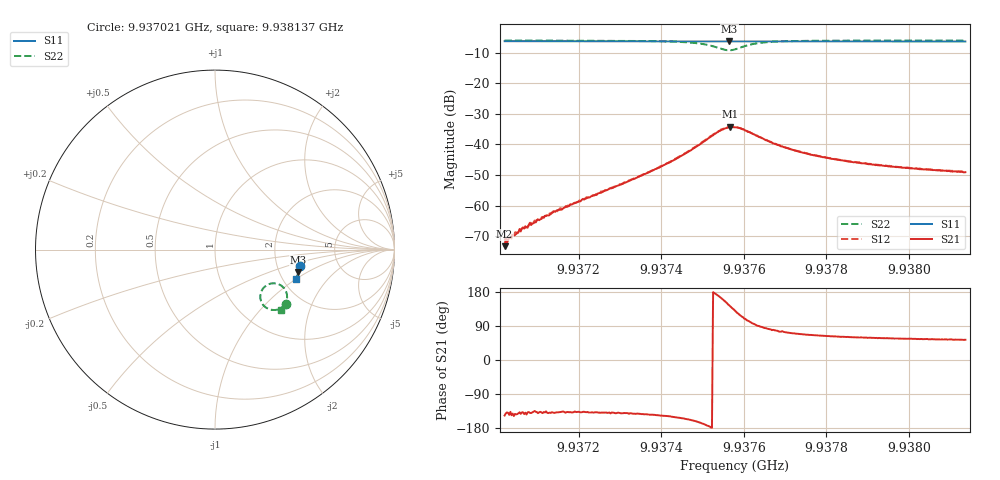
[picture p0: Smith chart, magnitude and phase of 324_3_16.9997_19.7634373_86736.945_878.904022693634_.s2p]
#  HZ  S  RI  R  50.00
! Rohde & Schwarz Vector Network Analyzer
! Rohde-Schwarz,ZNB20-2Port,1311601062101988,3.16
! Created: UTC 3/20/2024, 11:06:39 PM
! freq[Hz]  re:S11  im:S11  re:S21  im:S21  re:S12  im:S12  re:S22  im:S22
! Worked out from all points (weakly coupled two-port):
!   401 points, 9.937021 GHz to 9.938137 GHz, reference 50 ohm
!   highest |S21| = -34.24 dB at 9.937568 GHz (marker M1); lowest = -73.2 dB at 9.937021 GHz (marker M2)
!   lowest |S11| = -6.4 dB at 9.937565 GHz (marker M3), VSWR 2.85, Z = 127 - j41.1 ohm
!   |S11| at or under -10 dB: nowhere
!   |S22| runs from -9.3 to -6.0 dB; largest |S21 - S12| = 0.00083
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9.9370205e9  0.4763 -0.0894  -0.000182 -0.000121  -0.000226 -0.000149  0.3976 -0.3009
9.9370317e9  0.476 -0.0902  -0.000239 -0.000169  -0.000223 -0.000185  0.397 -0.3017
9.9370345e9  0.4761 -0.0905  -0.000221 -0.000207  -0.000254 -0.000178  0.3967 -0.3017
9.9370457e9  0.4759 -0.0911  -0.000263 -0.000202  -0.000301 -0.000211  0.3962 -0.3025
9.9370764e9  0.4752 -0.0933  -0.000337 -0.0003  -0.000332 -0.000283  0.394 -0.3049
9.9370931e9  0.475 -0.0944  -0.000376 -0.000382  -0.000461 -0.000342  0.3927 -0.306
9.9371406e9  0.474 -0.0974  -0.00062 -0.000525  -0.000596 -0.000552  0.3889 -0.3095
9.9372076e9  0.4729 -0.1021  -0.00093 -0.000842  -0.000936 -0.00081  0.3829 -0.3151
9.9373946e9  0.469 -0.1146  -0.00348 -0.00233  -0.00355 -0.00232  0.3516 -0.3328
9.937456e9  0.4675 -0.1189  -0.00624 -0.00296  -0.00645 -0.00292  0.3252 -0.3366
9.9375034e9  0.4659 -0.122  -0.0109 -0.00212  -0.0112 -0.00194  0.2868 -0.325
9.9375397e9  0.4644 -0.1239  -0.0161 0.00324  -0.0162 0.00379  0.2535 -0.2752
9.9375648e9  0.4636 -0.1245  -0.0155 0.0112  -0.0154 0.0119  0.2693 -0.2146
9.9375676e9  0.4637 -0.1247  -0.0152 0.0121  -0.0149 0.0126  0.2744 -0.2091
9.9375788e9  0.4637 -0.1251  -0.0124 0.0146  -0.012 0.0152  0.3 -0.1926
9.9376067e9  0.464 -0.1266  -0.00446 0.0161  -0.00419 0.0162  0.3616 -0.1963
9.9376374e9  0.4638 -0.1288  0.000133 0.0132  0.00041 0.0133  0.3929 -0.2268
9.937696e9  0.4628 -0.1329  0.00245 0.00874  0.00269 0.00877  0.4016 -0.2684
9.9377658e9  0.4615 -0.1378  0.00278 0.00617  0.00292 0.00616  0.3963 -0.2923
9.9378523e9  0.4593 -0.1436  0.00257 0.00462  0.00271 0.00461  0.3884 -0.3084
9.9379528e9  0.4569 -0.1503  0.00236 0.00369  0.00249 0.00373  0.3803 -0.3201
9.938137e9  0.452 -0.1621  0.0021 0.00283  0.00217 0.00284  0.3676 -0.3351
